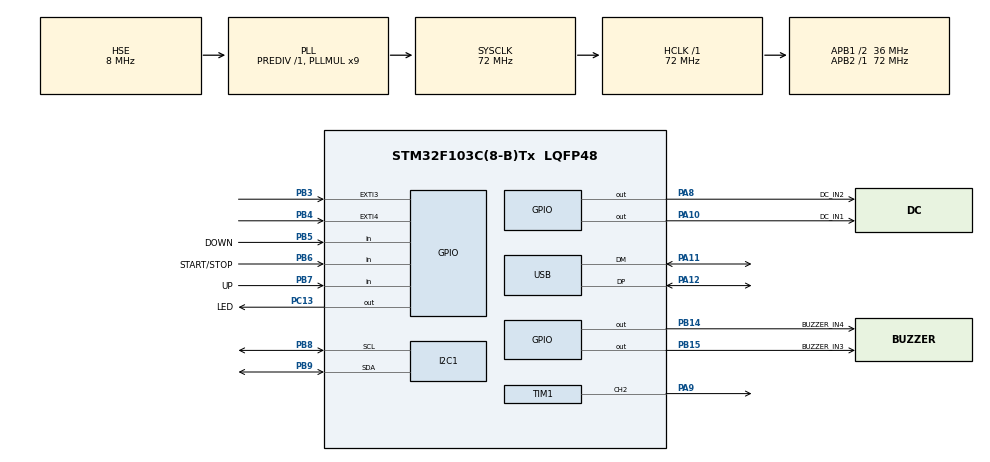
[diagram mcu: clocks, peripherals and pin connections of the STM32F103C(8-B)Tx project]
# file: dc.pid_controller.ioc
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Mcu.Family=STM32F1
Mcu.Name=STM32F103C(8-B)Tx
Mcu.Package=LQFP48
NVIC.EXTI3_IRQn=true\:0\:0\:false\:false\:true\:true\:true\:true
NVIC.EXTI4_IRQn=true\:0\:0\:false\:false\:true\:true\:true\:true
NVIC.PriorityGroup=NVIC_PRIORITYGROUP_4
NVIC.USB_LP_CAN1_RX0_IRQn=true\:0\:0\:false\:false\:true\:false\:true\:true
PA10.GPIO_Label=DC_IN1
PA10.Signal=GPIO_Output
PA11.Mode=Device
PA11.Signal=USB_DM
PA12.Mode=Device
PA12.Signal=USB_DP
PA13.Mode=Serial_Wire
PA13.Signal=SYS_JTMS-SWDIO
PA14.Mode=Serial_Wire
PA14.Signal=SYS_JTCK-SWCLK
PA8.GPIO_Label=DC_IN2
PA8.Signal=GPIO_Output
PA9.Signal=S_TIM1_CH2
PB14.GPIO_Label=BUZZER_IN4
PB14.Signal=GPIO_Output
PB15.GPIO_Label=BUZZER_IN3
PB15.Signal=GPIO_Output
PB3.Signal=GPXTI3
PB4.Signal=GPXTI4
PB5.GPIO_Label=DOWN
PB5.Signal=GPIO_Input
PB6.GPIO_Label=START/STOP
PB6.Signal=GPIO_Input
PB7.GPIO_Label=UP
PB7.Signal=GPIO_Input
PB8.Mode=I2C
PB8.Signal=I2C1_SCL
PB9.Mode=I2C
PB9.Signal=I2C1_SDA
PC13-TAMPER-RTC.GPIO_Label=LED
PC13-TAMPER-RTC.Signal=GPIO_Output
PD0-OSC_IN.Mode=HSE-External-Oscillator
PD0-OSC_IN.Signal=RCC_OSC_IN
PD1-OSC_OUT.Mode=HSE-External-Oscillator
PD1-OSC_OUT.Signal=RCC_OSC_OUT
ProjectManager.HeapSize=0x1000
ProjectManager.StackSize=0x800
ProjectManager.TargetToolchain=STM32CubeIDE
RCC.AHBFreq_Value=72000000
RCC.APB1CLKDivider=RCC_HCLK_DIV2
RCC.APB1Freq_Value=36000000
RCC.APB1TimFreq_Value=72000000
RCC.APB2Freq_Value=72000000
RCC.APB2TimFreq_Value=72000000
RCC.HCLKFreq_Value=72000000
RCC.PLLMUL=RCC_PLL_MUL9
RCC.SYSCLKFreq_VALUE=72000000
RCC.SYSCLKSource=RCC_SYSCLKSOURCE_PLLCLK
RCC.USBFreq_Value=48000000
RCC.USBPrescaler=RCC_USBCLKSOURCE_PLL_DIV1_5
SH.S_TIM1_CH2.0=TIM1_CH2,PWM Generation2 CH2
TIM1.Channel-PWM\ Generation2\ CH2=TIM_CHANNEL_2
USB_DEVICE.CLASS_NAME_FS=CDC
USB_DEVICE.VirtualMode=Cdc
USB_DEVICE.VirtualModeFS=Cdc_FS
VP_TIM1_VS_ClockSourceINT.Mode=Internal
VP_USB_DEVICE_VS_USB_DEVICE_CDC_FS.Mode=CDC_FS
board=custom

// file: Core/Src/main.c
/* USER CODE BEGIN Header */
/**
  ******************************************************************************
  * @file           : main.c
  * @brief          : Main program body
  ******************************************************************************
  * @attention
  *
  * Copyright (c) 2026 STMicroelectronics.
  * All rights reserved.
  *
  * This software is licensed under terms that can be found in the LICENSE file
  * in the root directory of this software component.
  * If no LICENSE file comes with this software, it is provided AS-IS.
  *
  ******************************************************************************
  */
/* USER CODE END Header */
#include "main.h"
#include "usb_device.h"

/* USER CODE BEGIN Includes */
#include "motor.h"
#include "encoder.h"
#include "pid.h"
#include "i2c_lcd.h"
#include "button.h"
#include "usbd_cdc_if.h"
#include <stdio.h>
#include <string.h>
/* USER CODE END Includes */

/* USER CODE BEGIN PD */
#define FLASH_STORAGE_PAGE_ADDR   0x0800FC00
#define PID_FLASH_MAGIC           0x55AA33CC
/* USER CODE END PD */

I2C_HandleTypeDef hi2c1;

TIM_HandleTypeDef htim1;

/* USER CODE BEGIN PV */
typedef struct {
    uint32_t magic;
    float kp;
    float ki;
    float kd;
} PID_Storage;

PID_HandleTypeDef motor_pid;
volatile float actual_rpm = 0.0f;
volatile float target_rpm = 0.0f;
volatile uint8_t motor_running = 0; // 0: Stopped, 1: Running
volatile uint8_t usb_beep_flag = 0; // Cờ phát tiếng bíp khi nhận lệnh USB
/* USER CODE END PV */

void SystemClock_Config(void);
static void MX_GPIO_Init(void);
static void MX_TIM1_Init(void);
static void MX_I2C1_Init(void);
/* USER CODE BEGIN PFP */
void Buzzer_Beep(uint32_t duration_ms);
void PID_SaveToFlash(float kp, float ki, float kd);
void PID_LoadFromFlash(float *kp, float *ki, float *kd);
void PID_FormatFloat(char *buf, size_t buf_size, float val);
/* USER CODE END PFP */

int main(void)
{

  /* MCU Configuration--------------------------------------------------------*/

  /* Reset of all peripherals, Initializes the Flash interface and the Systick. */
  HAL_Init();

  /* Configure the system clock */
  SystemClock_Config();

  /* Initialize all configured peripherals */
  MX_GPIO_Init();
  MX_USB_DEVICE_Init();
  MX_TIM1_Init();
  MX_I2C1_Init();
  /* USER CODE BEGIN 2 */
  // Khởi động các module khác trước để có thể dùng còi báo hiệu
  Motor_Init(&htim1);
  Encoder_Init();
  Button_Init();

  // Khởi động giao tiếp LCD
  if (LCD_Init(&hi2c1) != HAL_OK)
  {
      // Nếu không tìm thấy LCD, kêu còi 3 tiếng bíp ngắn để báo hiệu lỗi kết nối LCD
      for (int i = 0; i < 3; i++)
      {
          Buzzer_Beep(80);
          HAL_Delay(80);
      }
  }
  else
  {
      // Khởi tạo LCD thành công
      LCD_Clear();
      LCD_SetCursor(0, 0);
      LCD_SendString("PID Controller");
      LCD_SetCursor(1, 0);
      LCD_SendString("Ready!");

      // Kêu còi 1 tiếng bíp dài báo hiệu khởi động thành công
      Buzzer_Beep(200);
      HAL_Delay(500);
  }

  // Đọc thông số PID đã lưu trong Flash (nếu có), nếu không dùng mặc định
  float init_kp = 89.9360f;
  float init_ki = 228.4688f;
  float init_kd = 0.0614f;
  PID_LoadFromFlash(&init_kp, &init_ki, &init_kd);

  // Cập nhật giá trị ban đầu cho các biến USB để đồng bộ với App khi kết nối
  extern volatile float usb_kp, usb_ki, usb_kd;
  usb_kp = init_kp;
  usb_ki = init_ki;
  usb_kd = init_kd;

  // Khởi động PID với thông số đã tải
  // T_f=0.05s (= dt=50ms) → alpha=0.5, bộ lọc vi phân cân bằng
  PID_Init(&motor_pid, init_kp, init_ki, init_kd, 0.05f, -65535.0f, 65535.0f);

  LCD_Clear();
  /* USER CODE END 2 */

  /* Infinite loop */
  /* USER CODE BEGIN WHILE */
  uint32_t last_pid_tick = HAL_GetTick();
  uint32_t last_btn_tick = HAL_GetTick();
  uint32_t last_lcd_tick = HAL_GetTick();
  uint32_t last_usb_tick = HAL_GetTick();

  char lcd_buf[20];
  static char usb_buf[64];

  while (1)
  {
      uint32_t current_tick = HAL_GetTick();

      // 1. Quét trạng thái nút bấm mỗi 10ms
      if (current_tick - last_btn_tick >= 10)
      {
          last_btn_tick = current_tick;
          Button_Scan();

          Button_Event btn_evt = Button_GetEvent();
          if (btn_evt == BTN_UP_PRESSED)
          {
              target_rpm += 10.0f;
              if (target_rpm > 200.0f) target_rpm = 200.0f; // Giới hạn trên phù hợp với động cơ 170 RPM
              motor_pid.setpoint = target_rpm;
              Buzzer_Beep(50); // Còi bíp phản hồi ngắn
          }
          else if (btn_evt == BTN_DOWN_PRESSED)
          {
              target_rpm -= 10.0f;
              if (target_rpm < 0.0f) target_rpm = 0.0f; // Không cho Setpoint âm
              motor_pid.setpoint = target_rpm;
              Buzzer_Beep(50); // Còi bíp phản hồi ngắn
          }
          else if (btn_evt == BTN_START_PRESSED)
          {
              motor_running = !motor_running;
              if (!motor_running)
              {
                  Motor_SetSpeed(0);
                  PID_Reset(&motor_pid);
              }
              Buzzer_Beep(150); // Còi bíp dài báo đổi trạng thái chạy/dừng
          }
      }

      // 2. Kiểm tra và nhận dữ liệu điều khiển từ cổng USB CDC
      extern volatile uint8_t usb_reset_pid_flag;
      extern volatile uint8_t usb_save_flash_flag;
      extern volatile uint8_t usb_update_sp_flag;
      extern volatile uint8_t usb_update_pid_flag;

      if (usb_update_sp_flag)
      {
          usb_update_sp_flag = 0;
          target_rpm = usb_setpoint;
          if (target_rpm < 0.0f) target_rpm = 0.0f;
          motor_pid.setpoint = target_rpm;
      }

      if (usb_update_pid_flag)
      {
          usb_update_pid_flag = 0;
          PID_SetTunings(&motor_pid, usb_kp, usb_ki, usb_kd);
      }

      if (usb_reset_pid_flag)
      {
          usb_reset_pid_flag = 0;
          PID_Reset(&motor_pid);  // Xóa tích phân để mỗi lần test PID bắt đầu sạch
      }

      if (usb_save_flash_flag)
      {
          usb_save_flash_flag = 0;
          PID_SaveToFlash(motor_pid.Kp, motor_pid.Ki, motor_pid.Kd);
          Buzzer_Beep(100);  // Kêu bíp ngắn báo hiệu đã lưu thành công vào Flash
      }

      extern volatile uint8_t usb_send_pid_flag;
      static uint32_t last_pid_send_tick = 0;
      if (usb_send_pid_flag && (current_tick - last_pid_send_tick >= 50))
      {
          last_pid_send_tick = current_tick;
          static char tx_buf[64];
          char kp_str[16];
          char ki_str[16];
          char kd_str[16];
          PID_FormatFloat(kp_str, sizeof(kp_str), motor_pid.Kp);
          PID_FormatFloat(ki_str, sizeof(ki_str), motor_pid.Ki);
          PID_FormatFloat(kd_str, sizeof(kd_str), motor_pid.Kd);
          int len = snprintf(tx_buf, sizeof(tx_buf), "PID:%s,%s,%s\n", kp_str, ki_str, kd_str);
          if (CDC_Transmit_FS((uint8_t*)tx_buf, len) == USBD_OK)
          {
              usb_send_pid_flag = 0;
          }
      }

      if (usb_beep_flag)
      {
          usb_beep_flag = 0;
          Buzzer_Beep(50); // Phát tiếng bíp ngắn báo hiệu đã nhận lệnh USB thành công
      }

      // 3. Tính toán điều khiển PID định kỳ mỗi 50ms
      // Lý do: dt=50ms → ~20 pulses tại 30 RPM → sai số lượng tử ±5%
      //        dt=20ms → ~8  pulses tại 30 RPM → sai số lượng tử ±13%
      if (current_tick - last_pid_tick >= 50)
      {
          // Tính toán thời gian thực tế đã trôi qua kể từ lần cập nhật trước
          float dt = (float)(current_tick - last_pid_tick) / 1000.0f;
          last_pid_tick = current_tick;

          // Lấy tốc độ thực tế đo được từ encoder dựa trên dt thực tế
          actual_rpm = Encoder_GetRPM(dt);

          if (motor_running && target_rpm > 0.0f)
          {
              float pid_out = PID_Compute(&motor_pid, actual_rpm, dt);
              Motor_SetSpeed((int32_t)pid_out);
          }
          else
          {
              Motor_SetSpeed(0);
              PID_Reset(&motor_pid);
          }
      }

      // 4. Stream dữ liệu lên máy tính qua USB CDC mỗi 100ms
      if (current_tick - last_usb_tick >= 100)
      {
          last_usb_tick = current_tick;

          int32_t target_int = (int32_t)target_rpm;
          int32_t target_frac = (int32_t)((target_rpm - (float)target_int) * 10.0f);
          if (target_frac < 0) target_frac = -target_frac;

          int32_t actual_int = (int32_t)actual_rpm;
          int32_t actual_frac = (int32_t)((actual_rpm - (float)actual_int) * 10.0f);
          if (actual_frac < 0) actual_frac = -actual_frac;

          int len = snprintf(usb_buf, sizeof(usb_buf), "RPM:%ld.%ld,%ld.%ld\n",
                             (long)target_int, (long)target_frac,
                             (long)actual_int, (long)actual_frac);
          CDC_Transmit_FS((uint8_t*)usb_buf, len);
      }

      // 5. Cập nhật thông tin hiển thị màn hình LCD I2C mỗi 200ms
      if (current_tick - last_lcd_tick >= 200)
      {
          last_lcd_tick = current_tick;

          // Hàng 1: Setpoint và trạng thái motor
          LCD_SetCursor(0, 0);
          if (motor_running)
          {
              snprintf(lcd_buf, sizeof(lcd_buf), "SP:%4ld [RUN]   ", (long)target_rpm);
          }
          else
          {
              snprintf(lcd_buf, sizeof(lcd_buf), "SP:%4ld [STP]   ", (long)target_rpm);
          }
          LCD_SendString(lcd_buf);

          // Hàng 2: Tốc độ thực tế hiện tại và số xung thô 20ms gần nhất để debug
          LCD_SetCursor(1, 0);
          snprintf(lcd_buf, sizeof(lcd_buf), "PV:%4ld P:%-4ld  ", (long)actual_rpm, (long)Encoder_GetLastPulses());
          LCD_SendString(lcd_buf);
      }

      // 6. Điều khiển nhấp nháy LED trạng thái (PC13 - Onboard LED kích mức LOW)
      if (motor_running)
      {
          // Nhấp nháy chu kỳ 500ms khi chạy (Bật 250ms, Tắt 250ms)
          if ((current_tick / 250) % 2 == 0)
          {
              HAL_GPIO_WritePin(LED_PORT, LED_PIN, GPIO_PIN_RESET); // Bật LED
          }
          else
          {
              HAL_GPIO_WritePin(LED_PORT, LED_PIN, GPIO_PIN_SET);   // Tắt LED
          }
      }
      else
      {
          // Tắt hẳn LED khi động cơ dừng
          HAL_GPIO_WritePin(LED_PORT, LED_PIN, GPIO_PIN_SET);
      }
    /* USER CODE END WHILE */

  }
}

void SystemClock_Config(void)
{
  RCC_OscInitTypeDef RCC_OscInitStruct = {0};
  RCC_ClkInitTypeDef RCC_ClkInitStruct = {0};
  RCC_PeriphCLKInitTypeDef PeriphClkInit = {0};

  /** Initializes the RCC Oscillators according to the specified parameters
  * in the RCC_OscInitTypeDef structure.
  */
  RCC_OscInitStruct.OscillatorType = RCC_OSCILLATORTYPE_HSE;
  RCC_OscInitStruct.HSEState = RCC_HSE_ON;
  RCC_OscInitStruct.HSEPredivValue = RCC_HSE_PREDIV_DIV1;
  RCC_OscInitStruct.HSIState = RCC_HSI_ON;
  RCC_OscInitStruct.PLL.PLLState = RCC_PLL_ON;
  RCC_OscInitStruct.PLL.PLLSource = RCC_PLLSOURCE_HSE;
  RCC_OscInitStruct.PLL.PLLMUL = RCC_PLL_MUL9;
  if (HAL_RCC_OscConfig(&RCC_OscInitStruct) != HAL_OK)
  {
    Error_Handler();
  }

  /** Initializes the CPU, AHB and APB buses clocks
  */
  RCC_ClkInitStruct.ClockType = RCC_CLOCKTYPE_HCLK|RCC_CLOCKTYPE_SYSCLK
                              |RCC_CLOCKTYPE_PCLK1|RCC_CLOCKTYPE_PCLK2;
  RCC_ClkInitStruct.SYSCLKSource = RCC_SYSCLKSOURCE_PLLCLK;
  RCC_ClkInitStruct.AHBCLKDivider = RCC_SYSCLK_DIV1;
  RCC_ClkInitStruct.APB1CLKDivider = RCC_HCLK_DIV2;
  RCC_ClkInitStruct.APB2CLKDivider = RCC_HCLK_DIV1;

  if (HAL_RCC_ClockConfig(&RCC_ClkInitStruct, FLASH_LATENCY_2) != HAL_OK)
  {
    Error_Handler();
  }
  PeriphClkInit.PeriphClockSelection = RCC_PERIPHCLK_USB;
  PeriphClkInit.UsbClockSelection = RCC_USBCLKSOURCE_PLL_DIV1_5;
  if (HAL_RCCEx_PeriphCLKConfig(&PeriphClkInit) != HAL_OK)
  {
    Error_Handler();
  }
}

static void MX_I2C1_Init(void)
{

  hi2c1.Instance = I2C1;
  hi2c1.Init.ClockSpeed = 100000;
  hi2c1.Init.DutyCycle = I2C_DUTYCYCLE_2;
  hi2c1.Init.OwnAddress1 = 0;
  hi2c1.Init.AddressingMode = I2C_ADDRESSINGMODE_7BIT;
  hi2c1.Init.DualAddressMode = I2C_DUALADDRESS_DISABLE;
  hi2c1.Init.OwnAddress2 = 0;
  hi2c1.Init.GeneralCallMode = I2C_GENERALCALL_DISABLE;
  hi2c1.Init.NoStretchMode = I2C_NOSTRETCH_DISABLE;
  if (HAL_I2C_Init(&hi2c1) != HAL_OK)
  {
    Error_Handler();
  }

}

static void MX_TIM1_Init(void)
{

  TIM_ClockConfigTypeDef sClockSourceConfig = {0};
  TIM_MasterConfigTypeDef sMasterConfig = {0};
  TIM_OC_InitTypeDef sConfigOC = {0};
  TIM_BreakDeadTimeConfigTypeDef sBreakDeadTimeConfig = {0};

  htim1.Instance = TIM1;
  htim1.Init.Prescaler = 0;
  htim1.Init.CounterMode = TIM_COUNTERMODE_UP;
  htim1.Init.Period = 65535;
  htim1.Init.ClockDivision = TIM_CLOCKDIVISION_DIV1;
  htim1.Init.RepetitionCounter = 0;
  htim1.Init.AutoReloadPreload = TIM_AUTORELOAD_PRELOAD_DISABLE;
  if (HAL_TIM_Base_Init(&htim1) != HAL_OK)
  {
    Error_Handler();
  }
  sClockSourceConfig.ClockSource = TIM_CLOCKSOURCE_INTERNAL;
  if (HAL_TIM_ConfigClockSource(&htim1, &sClockSourceConfig) != HAL_OK)
  {
    Error_Handler();
  }
  if (HAL_TIM_PWM_Init(&htim1) != HAL_OK)
  {
    Error_Handler();
  }
  sMasterConfig.MasterOutputTrigger = TIM_TRGO_RESET;
  sMasterConfig.MasterSlaveMode = TIM_MASTERSLAVEMODE_DISABLE;
  if (HAL_TIMEx_MasterConfigSynchronization(&htim1, &sMasterConfig) != HAL_OK)
  {
    Error_Handler();
  }
  sConfigOC.OCMode = TIM_OCMODE_PWM1;
  sConfigOC.Pulse = 0;
  sConfigOC.OCPolarity = TIM_OCPOLARITY_HIGH;
  sConfigOC.OCNPolarity = TIM_OCNPOLARITY_HIGH;
  sConfigOC.OCFastMode = TIM_OCFAST_DISABLE;
  sConfigOC.OCIdleState = TIM_OCIDLESTATE_RESET;
  sConfigOC.OCNIdleState = TIM_OCNIDLESTATE_RESET;
  if (HAL_TIM_PWM_ConfigChannel(&htim1, &sConfigOC, TIM_CHANNEL_2) != HAL_OK)
  {
    Error_Handler();
  }
  sBreakDeadTimeConfig.OffStateRunMode = TIM_OSSR_DISABLE;
  sBreakDeadTimeConfig.OffStateIDLEMode = TIM_OSSI_DISABLE;
  sBreakDeadTimeConfig.LockLevel = TIM_LOCKLEVEL_OFF;
  sBreakDeadTimeConfig.DeadTime = 0;
  sBreakDeadTimeConfig.BreakState = TIM_BREAK_DISABLE;
  sBreakDeadTimeConfig.BreakPolarity = TIM_BREAKPOLARITY_HIGH;
  sBreakDeadTimeConfig.AutomaticOutput = TIM_AUTOMATICOUTPUT_DISABLE;
  if (HAL_TIMEx_ConfigBreakDeadTime(&htim1, &sBreakDeadTimeConfig) != HAL_OK)
  {
    Error_Handler();
  }
  HAL_TIM_MspPostInit(&htim1);

}

static void MX_GPIO_Init(void)
{
  GPIO_InitTypeDef GPIO_InitStruct = {0};

  /* GPIO Ports Clock Enable */
  __HAL_RCC_GPIOC_CLK_ENABLE();
  __HAL_RCC_GPIOD_CLK_ENABLE();
  __HAL_RCC_GPIOB_CLK_ENABLE();
  __HAL_RCC_GPIOA_CLK_ENABLE();

  /*Configure GPIO pin Output Level */
  HAL_GPIO_WritePin(LED_GPIO_Port, LED_Pin, GPIO_PIN_RESET);

  /*Configure GPIO pin Output Level */
  HAL_GPIO_WritePin(GPIOB, BUZZER_IN4_Pin|BUZZER_IN3_Pin, GPIO_PIN_RESET);

  /*Configure GPIO pin Output Level */
  HAL_GPIO_WritePin(GPIOA, DC_IN2_Pin|DC_IN1_Pin, GPIO_PIN_RESET);

  /*Configure GPIO pin : LED_Pin */
  GPIO_InitStruct.Pin = LED_Pin;
  GPIO_InitStruct.Mode = GPIO_MODE_OUTPUT_PP;
  GPIO_InitStruct.Pull = GPIO_NOPULL;
  GPIO_InitStruct.Speed = GPIO_SPEED_FREQ_LOW;
  HAL_GPIO_Init(LED_GPIO_Port, &GPIO_InitStruct);

  /*Configure GPIO pins : BUZZER_IN4_Pin BUZZER_IN3_Pin */
  GPIO_InitStruct.Pin = BUZZER_IN4_Pin|BUZZER_IN3_Pin;
  GPIO_InitStruct.Mode = GPIO_MODE_OUTPUT_PP;
  GPIO_InitStruct.Pull = GPIO_NOPULL;
  GPIO_InitStruct.Speed = GPIO_SPEED_FREQ_LOW;
  HAL_GPIO_Init(GPIOB, &GPIO_InitStruct);

  /*Configure GPIO pins : DC_IN2_Pin DC_IN1_Pin */
  GPIO_InitStruct.Pin = DC_IN2_Pin|DC_IN1_Pin;
  GPIO_InitStruct.Mode = GPIO_MODE_OUTPUT_PP;
  GPIO_InitStruct.Pull = GPIO_NOPULL;
  GPIO_InitStruct.Speed = GPIO_SPEED_FREQ_LOW;
  HAL_GPIO_Init(GPIOA, &GPIO_InitStruct);

  /*Configure GPIO pins : PB3 PB4 */
  GPIO_InitStruct.Pin = GPIO_PIN_3|GPIO_PIN_4;
  GPIO_InitStruct.Mode = GPIO_MODE_IT_RISING;
  GPIO_InitStruct.Pull = GPIO_NOPULL;
  HAL_GPIO_Init(GPIOB, &GPIO_InitStruct);

  /*Configure GPIO pins : DOWN_Pin START_STOP_Pin UP_Pin */
  GPIO_InitStruct.Pin = DOWN_Pin|START_STOP_Pin|UP_Pin;
  GPIO_InitStruct.Mode = GPIO_MODE_INPUT;
  GPIO_InitStruct.Pull = GPIO_NOPULL;
  HAL_GPIO_Init(GPIOB, &GPIO_InitStruct);

  /* EXTI interrupt init*/
  HAL_NVIC_SetPriority(EXTI3_IRQn, 0, 0);
  HAL_NVIC_EnableIRQ(EXTI3_IRQn);

  HAL_NVIC_SetPriority(EXTI4_IRQn, 0, 0);
  HAL_NVIC_EnableIRQ(EXTI4_IRQn);

}

/* USER CODE BEGIN 4 */
void Buzzer_Beep(uint32_t duration_ms)
{
    // Bật còi qua Driver L298N Channel B (OUT3 = HIGH, OUT4 = LOW)
    HAL_GPIO_WritePin(BUZZER_IN3_PORT, BUZZER_IN3_PIN, GPIO_PIN_SET);
    HAL_GPIO_WritePin(BUZZER_IN4_PORT, BUZZER_IN4_PIN, GPIO_PIN_RESET);
    HAL_Delay(duration_ms);
    // Tắt còi (OUT3 = LOW, OUT4 = LOW)
    HAL_GPIO_WritePin(BUZZER_IN3_PORT, BUZZER_IN3_PIN, GPIO_PIN_RESET);
    HAL_GPIO_WritePin(BUZZER_IN4_PORT, BUZZER_IN4_PIN, GPIO_PIN_RESET);
}

void PID_SaveToFlash(float kp, float ki, float kd)
{
    HAL_FLASH_Unlock();

    // Erase the page first (0x0800FC00 is page 63, the last page of 64KB Flash)
    FLASH_EraseInitTypeDef EraseInitStruct;
    uint32_t PageError = 0;
    memset(&EraseInitStruct, 0, sizeof(EraseInitStruct));
    EraseInitStruct.TypeErase = FLASH_TYPEERASE_PAGES;
    EraseInitStruct.PageAddress = FLASH_STORAGE_PAGE_ADDR;
    EraseInitStruct.NbPages = 1;
    EraseInitStruct.Banks = FLASH_BANK_1;

    // Clear any flash flags that could be active
    __HAL_FLASH_CLEAR_FLAG(FLASH_FLAG_EOP | FLASH_FLAG_PGERR | FLASH_FLAG_WRPERR);

    if (HAL_FLASHEx_Erase(&EraseInitStruct, &PageError) == HAL_OK)
    {
        // Program magic number
        HAL_FLASH_Program(FLASH_TYPEPROGRAM_WORD, FLASH_STORAGE_PAGE_ADDR, PID_FLASH_MAGIC);

        // Program Kp (copy to uint32_t to avoid type punning issues)
        uint32_t kp_raw;
        memcpy(&kp_raw, &kp, sizeof(kp));
        HAL_FLASH_Program(FLASH_TYPEPROGRAM_WORD, FLASH_STORAGE_PAGE_ADDR + 4, kp_raw);

        // Program Ki
        uint32_t ki_raw;
        memcpy(&ki_raw, &ki, sizeof(ki));
        HAL_FLASH_Program(FLASH_TYPEPROGRAM_WORD, FLASH_STORAGE_PAGE_ADDR + 8, ki_raw);

        // Program Kd
        uint32_t kd_raw;
        memcpy(&kd_raw, &kd, sizeof(kd));
        HAL_FLASH_Program(FLASH_TYPEPROGRAM_WORD, FLASH_STORAGE_PAGE_ADDR + 12, kd_raw);
    }

    HAL_FLASH_Lock();
}

void PID_LoadFromFlash(float *kp, float *ki, float *kd)
{
    PID_Storage *stored = (PID_Storage*)FLASH_STORAGE_PAGE_ADDR;
    if (stored->magic == PID_FLASH_MAGIC)
    {
        *kp = stored->kp;
        *ki = stored->ki;
        *kd = stored->kd;
    }
    else
    {
        // Default optimal values for dt=50ms
        *kp = 89.9360f;
        *ki = 228.4688f;
        *kd = 0.0614f;
    }
}

void PID_FormatFloat(char *buf, size_t buf_size, float val)
{
    int32_t val_int = (int32_t)val;
    float frac = val - (float)val_int;
    if (frac < 0.0f) frac = -frac;
    int32_t val_frac = (int32_t)(frac * 10000.0f + 0.5f);
    if (val_frac >= 10000)
    {
        val_int += 1;
        val_frac -= 10000;
    }
    snprintf(buf, buf_size, "%ld.%04ld", (long)val_int, (long)val_frac);
}
/* USER CODE END 4 */

void Error_Handler(void)
{
  __disable_irq();
  while (1)
  {
  }
}
